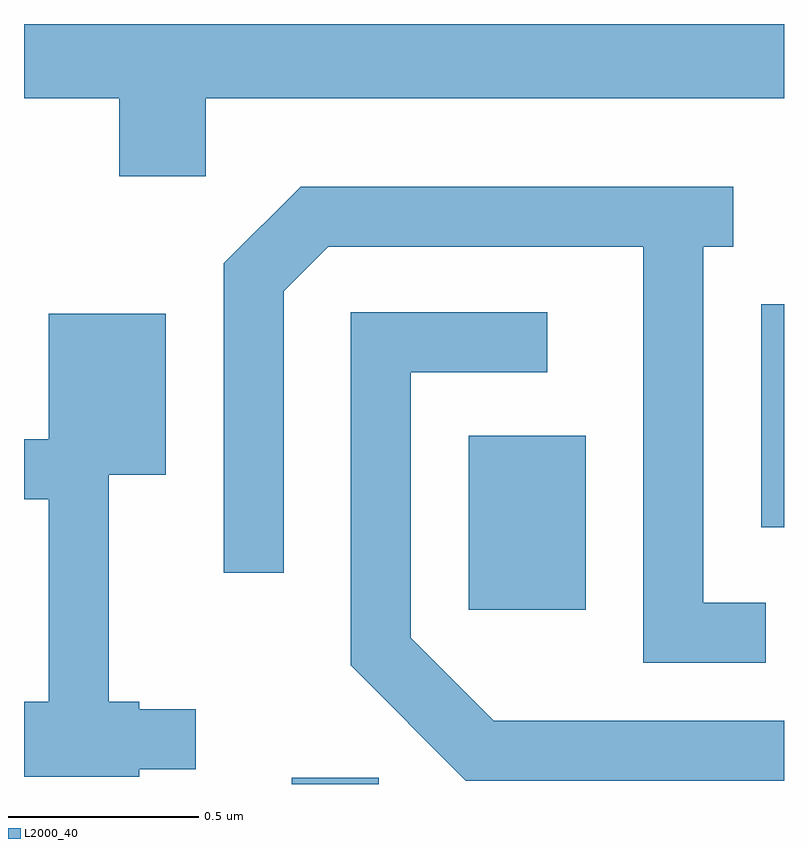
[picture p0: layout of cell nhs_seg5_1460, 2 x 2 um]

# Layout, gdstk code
import gdstk
lib = gdstk.Library(unit=1e-6, precision=1e-09)
def R(c, l, rs):  # rectangles x0, y0, x1, y1
    for r in rs: c.add(gdstk.rectangle(r[:2], r[2:], *l))
def P(c, l, *ps):  # polygons
    for p in ps: c.add(gdstk.Polygon(p, *l))
L2000_40 = (2000, 40)

nhs_seg5_1460 = lib.new_cell('nhs_seg5_1460')
R(nhs_seg5_1460, L2000_40, [(196.316,1486.072,196.544,1486.089), (196.781,1486.531,197.089,1486.989), (197.551,1486.748,197.611,1487.334)])
P(nhs_seg5_1460, L2000_40, [(196.089,1487.876),(197.611,1487.876),(197.611,1488.072),(195.611,1488.072),(195.611,1487.876),(195.861,1487.876),(195.861,1487.671),(196.089,1487.671)],
  [(197.563,1486.549),(197.399,1486.549),(197.399,1487.486),(197.478,1487.486),(197.478,1487.644),(196.339,1487.644),(196.136,1487.442),(196.136,1486.628),(196.294,1486.628),(196.294,1487.369),(196.412,1487.486),(197.241,1487.486),(197.241,1486.391),(197.563,1486.391)],
  [(197.611,1486.239),(196.847,1486.239),(196.629,1486.457),(196.629,1487.156),(196.988,1487.156),(196.988,1487.314),(196.471,1487.314),(196.471,1486.384),(196.774,1486.081),(197.611,1486.081)],
  [(195.914,1486.111),(196.063,1486.111),(196.063,1486.269),(195.914,1486.269),(195.914,1486.289),(195.834,1486.289),(195.834,1486.886),(195.984,1486.886),(195.984,1487.309),(195.676,1487.309),(195.676,1486.979),(195.611,1486.979),(195.611,1486.821),(195.676,1486.821),(195.676,1486.289),(195.611,1486.289),(195.611,1486.091),(195.914,1486.091)])

lib.write_gds('nhs_seg5_1460.gds')
